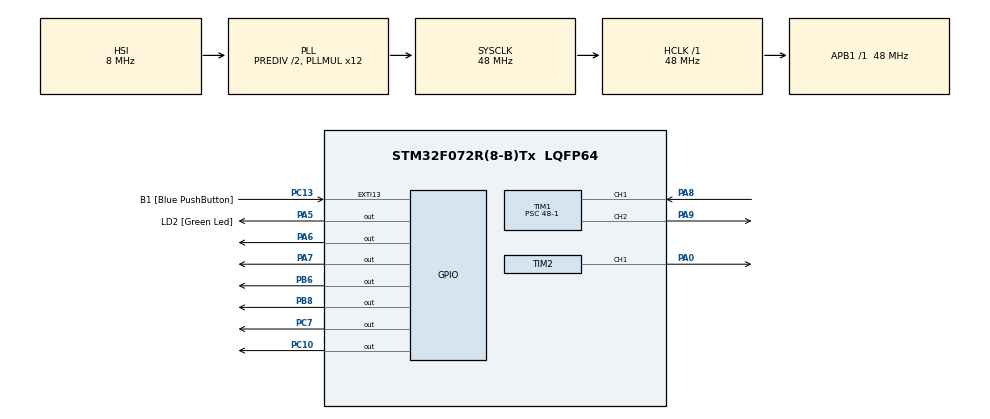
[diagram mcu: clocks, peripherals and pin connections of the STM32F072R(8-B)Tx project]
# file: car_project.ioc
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Mcu.Family=STM32F0
Mcu.Name=STM32F072R(8-B)Tx
Mcu.Package=LQFP64
NVIC.TIM1_CC_IRQn=true\:0\:0\:false\:false\:true\:true\:true\:true
PA0.Signal=S_TIM2_CH1_ETR
PA13.GPIO_Label=TMS
PA13.Signal=SYS_SWDIO
PA14.GPIO_Label=TCK
PA14.Signal=SYS_SWCLK
PA2.GPIO_Label=USART_TX
PA2.GPIO_Mode=GPIO_MODE_AF_PP
PA2.GPIO_PuPd=GPIO_NOPULL
PA2.GPIO_Speed=GPIO_SPEED_FREQ_LOW
PA2.Signal=USART2_TX
PA3.GPIO_Label=USART_RX
PA3.GPIO_Mode=GPIO_MODE_AF_PP
PA3.GPIO_PuPd=GPIO_NOPULL
PA3.GPIO_Speed=GPIO_SPEED_FREQ_LOW
PA3.Signal=USART2_RX
PA5.GPIO_Label=LD2 [Green Led]
PA5.GPIO_Mode=GPIO_MODE_OUTPUT_PP
PA5.GPIO_PuPd=GPIO_NOPULL
PA5.GPIO_Speed=GPIO_SPEED_FREQ_LOW
PA5.Signal=GPIO_Output
PA6.Signal=GPIO_Output
PA7.Signal=GPIO_Output
PA8.Signal=S_TIM1_CH1
PA9.Signal=S_TIM1_CH2
PB6.Signal=GPIO_Output
PB8.Signal=GPIO_Output
PC10.Signal=GPIO_Output
PC13.GPIO_Label=B1 [Blue PushButton]
PC13.GPIO_ModeDefaultEXTI=GPIO_MODE_IT_FALLING
PC13.Signal=GPXTI13
PC14-OSC32_IN.Signal=RCC_OSC32_IN
PC15-OSC32_OUT.Signal=RCC_OSC32_OUT
PC7.Signal=GPIO_Output
PF0-OSC_IN.Signal=RCC_OSC_IN
PF1-OSC_OUT.Signal=RCC_OSC_OUT
ProjectManager.HeapSize=0x200
ProjectManager.StackSize=0x400
ProjectManager.TargetToolchain=STM32CubeIDE
RCC.AHBFreq_Value=48000000
RCC.APB1Freq_Value=48000000
RCC.APB1TimFreq_Value=48000000
RCC.FLatency-AdvancedSettings=FLASH_LATENCY_1
RCC.HCLKFreq_Value=48000000
RCC.PLLDivider=RCC_PREDIV_DIV2
RCC.PLLMUL=RCC_PLL_MUL12
RCC.SYSCLKFreq_VALUE=48000000
RCC.SYSCLKSource=RCC_SYSCLKSOURCE_PLLCLK
SH.S_TIM1_CH1.0=TIM1_CH1,Input_Capture1_from_TI1
SH.S_TIM1_CH2.0=TIM1_CH2,PWM Generation2 CH2
SH.S_TIM2_CH1_ETR.0=TIM2_CH1,PWM Generation1 CH1
TIM1.Channel-Input_Capture1_from_TI1=TIM_CHANNEL_1
TIM1.Channel-PWM\ Generation2\ CH2=TIM_CHANNEL_2
TIM1.Prescaler=48-1
TIM2.Channel-PWM\ Generation1\ CH1=TIM_CHANNEL_1
TIM2.Period=100-1
TIM2.Prescaler=48-1
TIM3.Period=100-1
TIM3.Prescaler=48-1
VP_TIM1_VS_ClockSourceINT.Mode=Internal
VP_TIM2_VS_ClockSourceINT.Mode=Internal
VP_TIM3_VS_ClockSourceINT.Mode=Internal
board=NUCLEO-F072RB

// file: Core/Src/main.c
/* USER CODE BEGIN Header */
/**
  ******************************************************************************
  * @file           : main.c
  * @brief          : Main program body
  ******************************************************************************
  * @attention
  *
  * Copyright (c) 2022 STMicroelectronics.
  * All rights reserved.
  *
  * This software is licensed under terms that can be found in the LICENSE file
  * in the root directory of this software component.
  * If no LICENSE file comes with this software, it is provided AS-IS.
  *
  ******************************************************************************
  */
/* USER CODE END Header */
#include "main.h"

 TIM_HandleTypeDef htim1;
TIM_HandleTypeDef htim2;
TIM_HandleTypeDef htim3;

/* USER CODE BEGIN PV */
int isFirst = 0;
uint16_t Icval1 = 0;
uint16_t Icval2=0;
uint16_t difference = 0;
uint16_t frequency = 0;
uint16_t distance = 0;
/* USER CODE END PV */

void SystemClock_Config(void);
static void MX_GPIO_Init(void);
static void MX_TIM1_Init(void);
static void MX_TIM2_Init(void);
static void MX_TIM3_Init(void);

/* USER CODE BEGIN 0 */
void delay(uint16_t time){
	__HAL_TIM_SET_COUNTER(&htim1,0);
	while(__HAL_TIM_GET_COUNTER(&htim1) < time);

}

void HAL_TIM_IC_CaptureCallback(TIM_HandleTypeDef *htim){
if(htim->Channel == HAL_TIM_ACTIVE_CHANNEL_1){
	 if(isFirst == 0){
		 Icval1 = HAL_TIM_ReadCapturedValue(htim,TIM_CHANNEL_1);
		 isFirst = 1;
		// __HAL_TIM_SET_CAPTUREPOLARITY(htim,TIM_CHANNEL_1,TIM_INPUTCHANNELPOLARITY_FALLING);
	 }
	 else if (isFirst ==1){
		 Icval2 = HAL_TIM_ReadCapturedValue(htim,TIM_CHANNEL_1);
		 __HAL_TIM_SET_COUNTER(htim,0);
		 if(Icval2 > Icval1){
			 difference = Icval2- Icval1;
		 }
		 else if (Icval1 > Icval2){
			 difference = (0xffff-Icval1)+Icval2;
		 }
		 distance = difference*0.034/2;
		 if(distance<15){
		 		go_back();
		 		HAL_Delay(500);
		 		go_right();
		 		HAL_Delay(500);
		 		}
		 	else{
		 		go_forward();
		 	}
		 isFirst = 0;
		// __HAL_TIM_SET_CAPTUREPOLARITY(htim,TIM_CHANNEL_1,TIM_INPUTCHANNELPOLARITY_RISING);
		 __HAL_TIM_DISABLE_IT(&htim1,TIM_IT_CC1);
	 }

}

}

void go_back(void){
	TIM2->CCR1=70;
		HAL_TIM_PWM_Start(&htim2,TIM_CHANNEL_1);
	HAL_GPIO_WritePin(GPIOA,GPIO_PIN_6,GPIO_PIN_RESET);
	HAL_GPIO_WritePin(GPIOC,GPIO_PIN_7,GPIO_PIN_SET);

	TIM1->CCR2=70;
			HAL_TIM_PWM_Start(&htim1,TIM_CHANNEL_2);
		HAL_GPIO_WritePin(GPIOB,GPIO_PIN_8,GPIO_PIN_RESET);
		HAL_GPIO_WritePin(GPIOB,GPIO_PIN_6,GPIO_PIN_SET);

}
void go_forward(void){
	TIM2->CCR1=70;
	HAL_TIM_PWM_Start(&htim2,TIM_CHANNEL_1);
	HAL_GPIO_WritePin(GPIOA,GPIO_PIN_6,GPIO_PIN_SET);
	HAL_GPIO_WritePin(GPIOC,GPIO_PIN_7,GPIO_PIN_RESET);

	TIM1->CCR2=70;
	HAL_TIM_PWM_Start(&htim1,TIM_CHANNEL_2);
		HAL_GPIO_WritePin(GPIOB,GPIO_PIN_8,GPIO_PIN_SET);
		HAL_GPIO_WritePin(GPIOB,GPIO_PIN_6,GPIO_PIN_RESET);

}
void go_right(void){
	TIM2->CCR1=70;
		HAL_TIM_PWM_Start(&htim2,TIM_CHANNEL_1);
	HAL_GPIO_WritePin(GPIOA,GPIO_PIN_6,GPIO_PIN_RESET);
	HAL_GPIO_WritePin(GPIOC,GPIO_PIN_7,GPIO_PIN_SET);

	TIM1->CCR2=70;
			HAL_TIM_PWM_Start(&htim1,TIM_CHANNEL_2);
		HAL_GPIO_WritePin(GPIOB,GPIO_PIN_8,GPIO_PIN_SET);
		HAL_GPIO_WritePin(GPIOB,GPIO_PIN_6,GPIO_PIN_RESET);

}

void read(void){
	HAL_GPIO_WritePin(GPIOA,GPIO_PIN_7,GPIO_PIN_SET);
	delay(10);
	HAL_GPIO_WritePin(GPIOA,GPIO_PIN_7,GPIO_PIN_RESET);
	__HAL_TIM_ENABLE_IT(&htim1,TIM_IT_CC1);

}
/* USER CODE END 0 */

int main(void)
{

  /* MCU Configuration--------------------------------------------------------*/

  /* Reset of all peripherals, Initializes the Flash interface and the Systick. */
  HAL_Init();

  /* Configure the system clock */
  SystemClock_Config();

  /* Initialize all configured peripherals */
  MX_GPIO_Init();
  MX_TIM1_Init();
  MX_TIM2_Init();
  MX_TIM3_Init();
  /* USER CODE BEGIN 2 */
  HAL_TIM_IC_Start_IT(&htim1,TIM_CHANNEL_1);
  /* USER CODE END 2 */

  /* Infinite loop */
  /* USER CODE BEGIN WHILE */
  while (1)
  {
	  read();
	  HAL_Delay(100);
    /* USER CODE END WHILE */

  }
}

void SystemClock_Config(void)
{
  RCC_OscInitTypeDef RCC_OscInitStruct = {0};
  RCC_ClkInitTypeDef RCC_ClkInitStruct = {0};

  /** Initializes the RCC Oscillators according to the specified parameters
  * in the RCC_OscInitTypeDef structure.
  */
  RCC_OscInitStruct.OscillatorType = RCC_OSCILLATORTYPE_HSI;
  RCC_OscInitStruct.HSIState = RCC_HSI_ON;
  RCC_OscInitStruct.HSICalibrationValue = RCC_HSICALIBRATION_DEFAULT;
  RCC_OscInitStruct.PLL.PLLState = RCC_PLL_ON;
  RCC_OscInitStruct.PLL.PLLSource = RCC_PLLSOURCE_HSI;
  RCC_OscInitStruct.PLL.PLLMUL = RCC_PLL_MUL12;
  RCC_OscInitStruct.PLL.PREDIV = RCC_PREDIV_DIV2;
  if (HAL_RCC_OscConfig(&RCC_OscInitStruct) != HAL_OK)
  {
    Error_Handler();
  }

  /** Initializes the CPU, AHB and APB buses clocks
  */
  RCC_ClkInitStruct.ClockType = RCC_CLOCKTYPE_HCLK|RCC_CLOCKTYPE_SYSCLK
                              |RCC_CLOCKTYPE_PCLK1;
  RCC_ClkInitStruct.SYSCLKSource = RCC_SYSCLKSOURCE_PLLCLK;
  RCC_ClkInitStruct.AHBCLKDivider = RCC_SYSCLK_DIV1;
  RCC_ClkInitStruct.APB1CLKDivider = RCC_HCLK_DIV1;

  if (HAL_RCC_ClockConfig(&RCC_ClkInitStruct, FLASH_LATENCY_1) != HAL_OK)
  {
    Error_Handler();
  }
}

static void MX_TIM1_Init(void)
{

  TIM_ClockConfigTypeDef sClockSourceConfig = {0};
  TIM_MasterConfigTypeDef sMasterConfig = {0};
  TIM_IC_InitTypeDef sConfigIC = {0};
  TIM_OC_InitTypeDef sConfigOC = {0};
  TIM_BreakDeadTimeConfigTypeDef sBreakDeadTimeConfig = {0};

  htim1.Instance = TIM1;
  htim1.Init.Prescaler = 48-1;
  htim1.Init.CounterMode = TIM_COUNTERMODE_UP;
  htim1.Init.Period = 65535;
  htim1.Init.ClockDivision = TIM_CLOCKDIVISION_DIV1;
  htim1.Init.RepetitionCounter = 0;
  htim1.Init.AutoReloadPreload = TIM_AUTORELOAD_PRELOAD_DISABLE;
  if (HAL_TIM_Base_Init(&htim1) != HAL_OK)
  {
    Error_Handler();
  }
  sClockSourceConfig.ClockSource = TIM_CLOCKSOURCE_INTERNAL;
  if (HAL_TIM_ConfigClockSource(&htim1, &sClockSourceConfig) != HAL_OK)
  {
    Error_Handler();
  }
  if (HAL_TIM_IC_Init(&htim1) != HAL_OK)
  {
    Error_Handler();
  }
  if (HAL_TIM_PWM_Init(&htim1) != HAL_OK)
  {
    Error_Handler();
  }
  sMasterConfig.MasterOutputTrigger = TIM_TRGO_RESET;
  sMasterConfig.MasterSlaveMode = TIM_MASTERSLAVEMODE_DISABLE;
  if (HAL_TIMEx_MasterConfigSynchronization(&htim1, &sMasterConfig) != HAL_OK)
  {
    Error_Handler();
  }
  sConfigIC.ICPolarity = TIM_INPUTCHANNELPOLARITY_RISING;
  sConfigIC.ICSelection = TIM_ICSELECTION_DIRECTTI;
  sConfigIC.ICPrescaler = TIM_ICPSC_DIV1;
  sConfigIC.ICFilter = 0;
  if (HAL_TIM_IC_ConfigChannel(&htim1, &sConfigIC, TIM_CHANNEL_1) != HAL_OK)
  {
    Error_Handler();
  }
  sConfigOC.OCMode = TIM_OCMODE_PWM1;
  sConfigOC.Pulse = 0;
  sConfigOC.OCPolarity = TIM_OCPOLARITY_HIGH;
  sConfigOC.OCNPolarity = TIM_OCNPOLARITY_HIGH;
  sConfigOC.OCFastMode = TIM_OCFAST_DISABLE;
  sConfigOC.OCIdleState = TIM_OCIDLESTATE_RESET;
  sConfigOC.OCNIdleState = TIM_OCNIDLESTATE_RESET;
  if (HAL_TIM_PWM_ConfigChannel(&htim1, &sConfigOC, TIM_CHANNEL_2) != HAL_OK)
  {
    Error_Handler();
  }
  sBreakDeadTimeConfig.OffStateRunMode = TIM_OSSR_DISABLE;
  sBreakDeadTimeConfig.OffStateIDLEMode = TIM_OSSI_DISABLE;
  sBreakDeadTimeConfig.LockLevel = TIM_LOCKLEVEL_OFF;
  sBreakDeadTimeConfig.DeadTime = 0;
  sBreakDeadTimeConfig.BreakState = TIM_BREAK_DISABLE;
  sBreakDeadTimeConfig.BreakPolarity = TIM_BREAKPOLARITY_HIGH;
  sBreakDeadTimeConfig.AutomaticOutput = TIM_AUTOMATICOUTPUT_DISABLE;
  if (HAL_TIMEx_ConfigBreakDeadTime(&htim1, &sBreakDeadTimeConfig) != HAL_OK)
  {
    Error_Handler();
  }
  HAL_TIM_MspPostInit(&htim1);

}

static void MX_TIM2_Init(void)
{

  TIM_ClockConfigTypeDef sClockSourceConfig = {0};
  TIM_MasterConfigTypeDef sMasterConfig = {0};
  TIM_OC_InitTypeDef sConfigOC = {0};

  htim2.Instance = TIM2;
  htim2.Init.Prescaler = 48-1;
  htim2.Init.CounterMode = TIM_COUNTERMODE_UP;
  htim2.Init.Period = 100-1;
  htim2.Init.ClockDivision = TIM_CLOCKDIVISION_DIV1;
  htim2.Init.AutoReloadPreload = TIM_AUTORELOAD_PRELOAD_DISABLE;
  if (HAL_TIM_Base_Init(&htim2) != HAL_OK)
  {
    Error_Handler();
  }
  sClockSourceConfig.ClockSource = TIM_CLOCKSOURCE_INTERNAL;
  if (HAL_TIM_ConfigClockSource(&htim2, &sClockSourceConfig) != HAL_OK)
  {
    Error_Handler();
  }
  if (HAL_TIM_PWM_Init(&htim2) != HAL_OK)
  {
    Error_Handler();
  }
  sMasterConfig.MasterOutputTrigger = TIM_TRGO_RESET;
  sMasterConfig.MasterSlaveMode = TIM_MASTERSLAVEMODE_DISABLE;
  if (HAL_TIMEx_MasterConfigSynchronization(&htim2, &sMasterConfig) != HAL_OK)
  {
    Error_Handler();
  }
  sConfigOC.OCMode = TIM_OCMODE_PWM1;
  sConfigOC.Pulse = 0;
  sConfigOC.OCPolarity = TIM_OCPOLARITY_HIGH;
  sConfigOC.OCFastMode = TIM_OCFAST_DISABLE;
  if (HAL_TIM_PWM_ConfigChannel(&htim2, &sConfigOC, TIM_CHANNEL_1) != HAL_OK)
  {
    Error_Handler();
  }
  HAL_TIM_MspPostInit(&htim2);

}

static void MX_TIM3_Init(void)
{

  TIM_ClockConfigTypeDef sClockSourceConfig = {0};
  TIM_MasterConfigTypeDef sMasterConfig = {0};

  htim3.Instance = TIM3;
  htim3.Init.Prescaler = 48-1;
  htim3.Init.CounterMode = TIM_COUNTERMODE_UP;
  htim3.Init.Period = 100-1;
  htim3.Init.ClockDivision = TIM_CLOCKDIVISION_DIV1;
  htim3.Init.AutoReloadPreload = TIM_AUTORELOAD_PRELOAD_DISABLE;
  if (HAL_TIM_Base_Init(&htim3) != HAL_OK)
  {
    Error_Handler();
  }
  sClockSourceConfig.ClockSource = TIM_CLOCKSOURCE_INTERNAL;
  if (HAL_TIM_ConfigClockSource(&htim3, &sClockSourceConfig) != HAL_OK)
  {
    Error_Handler();
  }
  sMasterConfig.MasterOutputTrigger = TIM_TRGO_RESET;
  sMasterConfig.MasterSlaveMode = TIM_MASTERSLAVEMODE_DISABLE;
  if (HAL_TIMEx_MasterConfigSynchronization(&htim3, &sMasterConfig) != HAL_OK)
  {
    Error_Handler();
  }

}

static void MX_GPIO_Init(void)
{
  GPIO_InitTypeDef GPIO_InitStruct = {0};

  /* GPIO Ports Clock Enable */
  __HAL_RCC_GPIOC_CLK_ENABLE();
  __HAL_RCC_GPIOF_CLK_ENABLE();
  __HAL_RCC_GPIOA_CLK_ENABLE();
  __HAL_RCC_GPIOB_CLK_ENABLE();

  /*Configure GPIO pin Output Level */
  HAL_GPIO_WritePin(GPIOA, LD2_Pin|GPIO_PIN_6|GPIO_PIN_7, GPIO_PIN_RESET);

  /*Configure GPIO pin Output Level */
  HAL_GPIO_WritePin(GPIOC, GPIO_PIN_7|GPIO_PIN_10, GPIO_PIN_RESET);

  /*Configure GPIO pin Output Level */
  HAL_GPIO_WritePin(GPIOB, GPIO_PIN_6|GPIO_PIN_8, GPIO_PIN_RESET);

  /*Configure GPIO pin : B1_Pin */
  GPIO_InitStruct.Pin = B1_Pin;
  GPIO_InitStruct.Mode = GPIO_MODE_IT_FALLING;
  GPIO_InitStruct.Pull = GPIO_NOPULL;
  HAL_GPIO_Init(B1_GPIO_Port, &GPIO_InitStruct);

  /*Configure GPIO pins : USART_TX_Pin USART_RX_Pin */
  GPIO_InitStruct.Pin = USART_TX_Pin|USART_RX_Pin;
  GPIO_InitStruct.Mode = GPIO_MODE_AF_PP;
  GPIO_InitStruct.Pull = GPIO_NOPULL;
  GPIO_InitStruct.Speed = GPIO_SPEED_FREQ_LOW;
  GPIO_InitStruct.Alternate = GPIO_AF1_USART2;
  HAL_GPIO_Init(GPIOA, &GPIO_InitStruct);

  /*Configure GPIO pins : LD2_Pin PA6 PA7 */
  GPIO_InitStruct.Pin = LD2_Pin|GPIO_PIN_6|GPIO_PIN_7;
  GPIO_InitStruct.Mode = GPIO_MODE_OUTPUT_PP;
  GPIO_InitStruct.Pull = GPIO_NOPULL;
  GPIO_InitStruct.Speed = GPIO_SPEED_FREQ_LOW;
  HAL_GPIO_Init(GPIOA, &GPIO_InitStruct);

  /*Configure GPIO pins : PC7 PC10 */
  GPIO_InitStruct.Pin = GPIO_PIN_7|GPIO_PIN_10;
  GPIO_InitStruct.Mode = GPIO_MODE_OUTPUT_PP;
  GPIO_InitStruct.Pull = GPIO_NOPULL;
  GPIO_InitStruct.Speed = GPIO_SPEED_FREQ_LOW;
  HAL_GPIO_Init(GPIOC, &GPIO_InitStruct);

  /*Configure GPIO pins : PB6 PB8 */
  GPIO_InitStruct.Pin = GPIO_PIN_6|GPIO_PIN_8;
  GPIO_InitStruct.Mode = GPIO_MODE_OUTPUT_PP;
  GPIO_InitStruct.Pull = GPIO_NOPULL;
  GPIO_InitStruct.Speed = GPIO_SPEED_FREQ_LOW;
  HAL_GPIO_Init(GPIOB, &GPIO_InitStruct);

}

void Error_Handler(void)
{
  __disable_irq();
  while (1)
  {
  }
}
